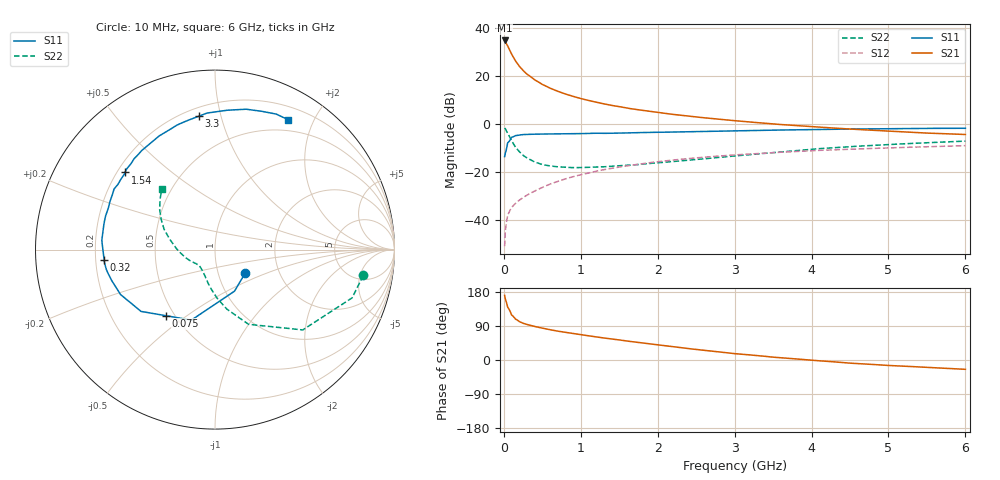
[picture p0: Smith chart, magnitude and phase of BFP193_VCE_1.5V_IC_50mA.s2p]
! Infineon Technologies  Discrete & RF Semiconductors
! BFP193
! VCE = 1.5 V,  IC =  50 mA
! Common Emitter S-Parameters:  Jan 2016
# GHz  S  MA  R  50
!  f  S11  S21  S12  S22
! GHz  MAG  ANG  MAG  ANG  MAG  ANG  MAG  ANG
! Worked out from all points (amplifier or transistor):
!   210 points, 10 MHz to 6 GHz, reference 50 ohm
!   highest |S21| = 35.0 dB at 10 MHz (marker M1)
!   |S21| within 3 dB of that: start of sweep to 61.02 MHz
!   unconditionally stable (mu >= 1): 392.4 MHz to 4.385 GHz
!   at 185 MHz: K = 0.76, MSG = 28.5 dB, |S12| = -32.0 dB
!   at 1.52 GHz: K = 1.11, MAG = 10.5 dB, |S12| = -17.6 dB
!   at 6 GHz: K = 0.98, MSG = 2.3 dB, |S12| = -8.8 dB
!   S11 on the Smith chart (normalised r, x): 10 MHz: 1.35, -0.37; 75 MHz: 0.45, -0.42; 320 MHz: 0.23, -0.04; 1.54 GHz: 0.23, +0.35; 3.3 GHz: 0.25, +0.85; 6 GHz: 0.35, +1.66
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0.01  0.2131 -37.5  56.23 170.5  0.0029 76.5  0.8387 -9.9
0.02  0.2557 -64.8  53.13 160.6  0.0062 73.5  0.8098 -19.4
0.05  0.4141 -108.5  43.24 139.3  0.0127 60.9  0.6627 -42.5
0.075  0.4579 -126.4  35.67 131.2  0.0156 57.6  0.5483 -52.0
0.1  0.537 -140.1  29.19 119.1  0.0185 55.3  0.4562 -65.8
0.15  0.5828 -154.6  21.13 108.2  0.0225 53.7  0.3385 -78.7
0.2  0.6007 -163.3  16.43 101.5  0.0263 56.1  0.2717 -87.4
0.26  0.6156 -169.8  12.84 96.3  0.0305 57.9  0.2213 -95.4
0.3  0.62 -173.1  11.2 93.5  0.0335 59.9  0.2001 -99.7
0.32  0.6203 -174.6  10.66 92.7  0.0349 60.4  0.1928 -101.2
0.4  0.6257 179.6  8.511 88.3  0.0407 61.9  0.165 -108.4
0.5  0.6326 175.2  6.823 84.0  0.0486 63.4  0.1458 -115.4
0.6  0.6328 170.5  5.703 79.8  0.0569 64.4  0.1365 -121.0
0.8  0.6377 163.0  4.302 73.0  0.0732 63.8  0.1278 -129.5
1.02  0.6441 154.8  3.399 66.3  0.0909 62.9  0.1263 -136.2
1.54  0.6601 139.4  2.287 51.8  0.1326 57.6  0.1391 -148.9
2.02  0.6867 126.1  1.755 39.4  0.1682 51.3  0.1594 -160.1
3.1  0.7382 100.7  1.16 15.2  0.2367 36.8  0.2273 174.7
3.3  0.7486 96.9  1.088 11.6  0.2474 34.3  0.2427 170.6
4.1  0.7829 83.4  0.876 -2.1  0.2877 24.3  0.3125 156.6
5.1  0.8156 70.2  0.712 -15.3  0.3278 13.0  0.3878 142.6
6  0.8307 60.6  0.617 -24.6  0.3611 3.1  0.4487 131.3
